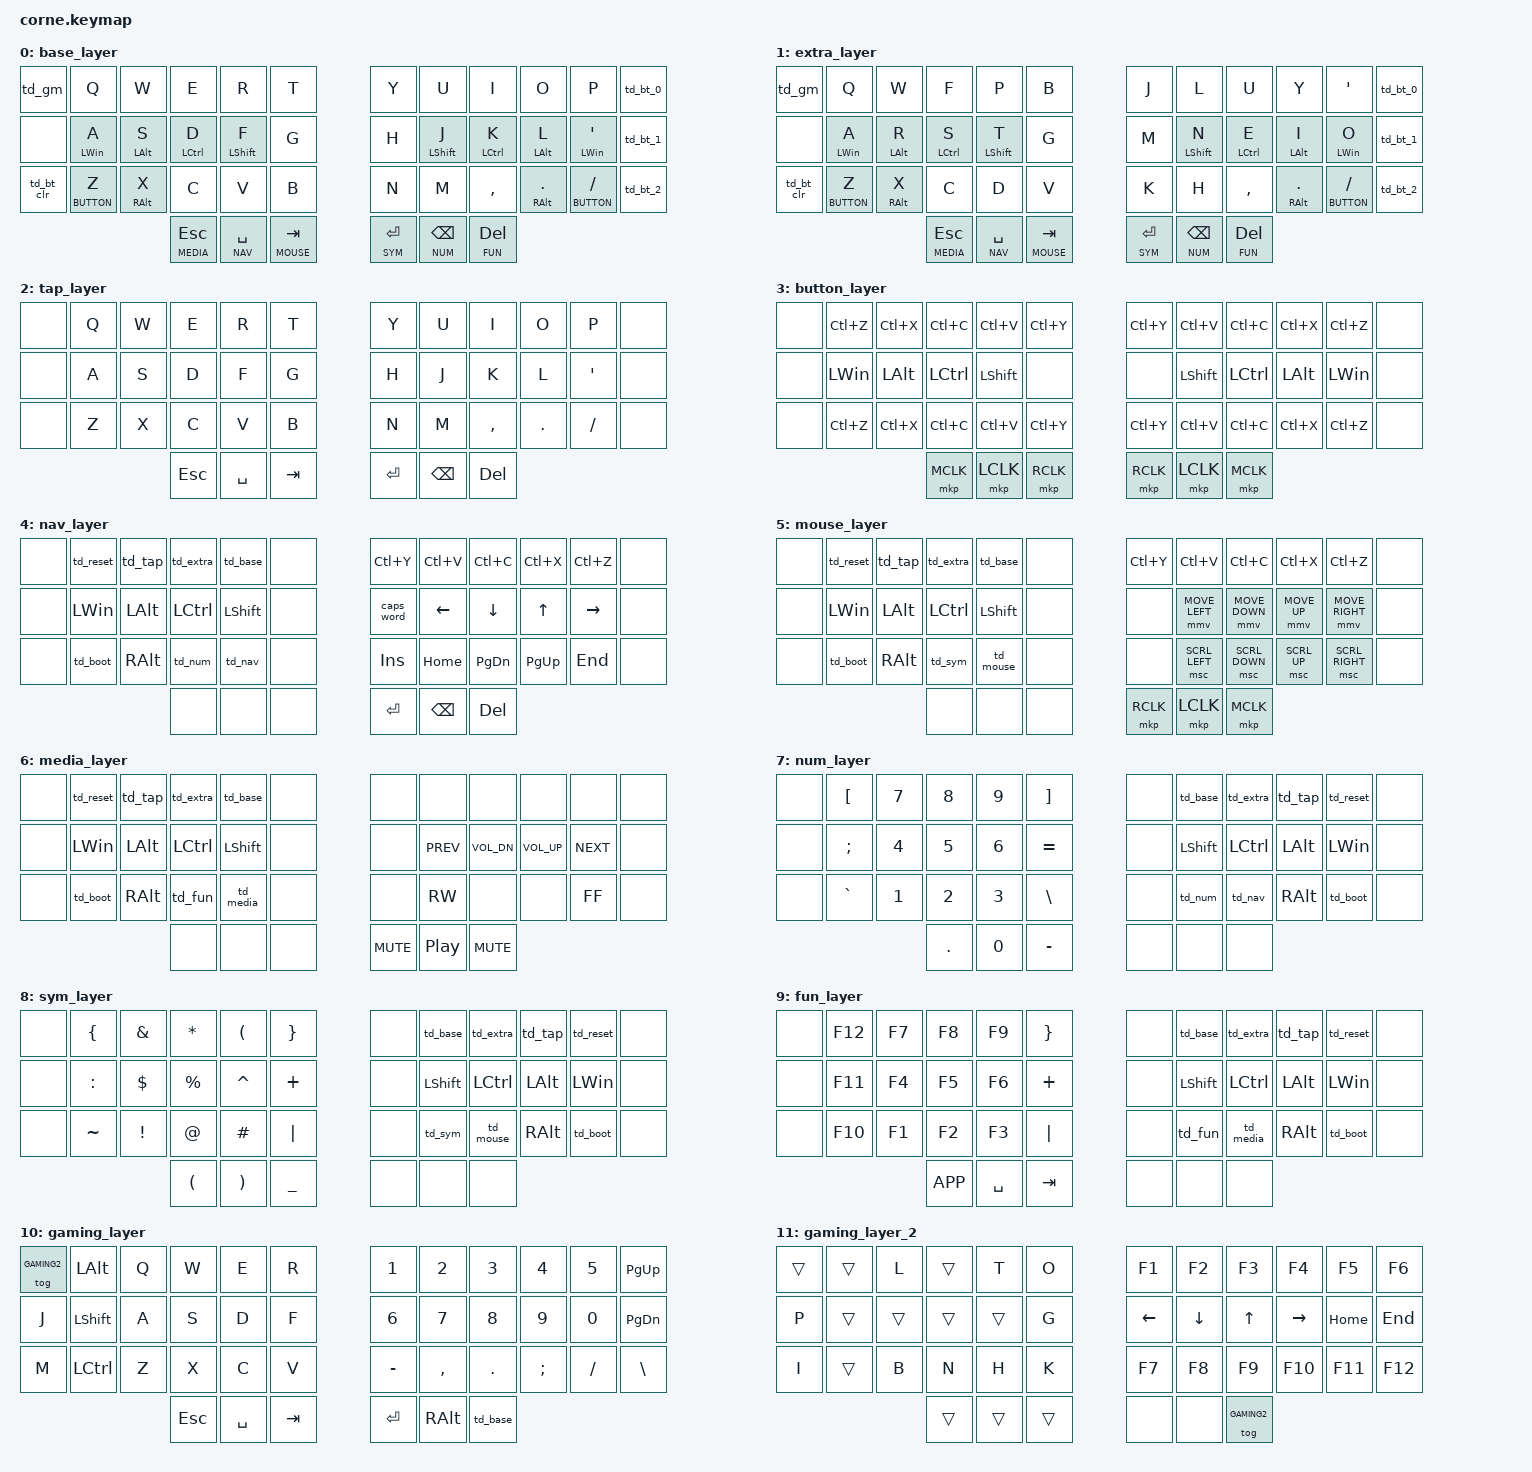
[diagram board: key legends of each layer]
/*
 * Copyright (c) 2020 The ZMK Contributors
 *
 * SPDX-License-Identifier: MIT
 */

#include <behaviors.dtsi>
#include <dt-bindings/zmk/keys.h>
#include <dt-bindings/zmk/bt.h>
#include <dt-bindings/zmk/pointing.h>

#define BASE 0
#define EXTRA 1
#define TAP 2
#define BUTTON 3
#define NAV 4
#define MOUSE 5
#define MEDIA 6
#define NUM 7
#define SYM 8
#define FUN 9
#define GAMING 10
#define GAMING2 11

&mt {
    flavor = "balanced";
};

&lt {
    flavor = "balanced";
};

/ {
    behaviors {
        td_gm: tap_dance_gaming {
            compatible = "zmk,behavior-tap-dance";
            #binding-cells = <0>;
            tapping-term-ms = <200>;
            bindings = <&none>, <&to GAMING>;
        };

        
        td_gm2: tap_dance_gaming2 {
            compatible = "zmk,behavior-tap-dance";
            #binding-cells = <0>;
            tapping-term-ms = <200>;
            bindings = <&none>, <&to GAMING2>;
        };

        
        td_reset: tap_dance_reset {
            compatible = "zmk,behavior-tap-dance";
            #binding-cells = <0>;
            tapping-term-ms = <200>;
            bindings = <&none>, <&sys_reset>;
        };

        
        td_boot: tap_dance_bootloader {
            compatible = "zmk,behavior-tap-dance";
            #binding-cells = <0>;
            tapping-term-ms = <200>;
            bindings = <&none>, <&none>, <&bootloader>;
        };

        
        td_tap: tap_dance_tap {
            compatible = "zmk,behavior-tap-dance";
            #binding-cells = <0>;
            tapping-term-ms = <200>;
            bindings = <&none>, <&to TAP>;
        };

        
        td_extra: tap_dance_extra {
            compatible = "zmk,behavior-tap-dance";
            #binding-cells = <0>;
            tapping-term-ms = <200>;
            bindings = <&none>, <&to EXTRA>;
        };

        
        td_base: tap_dance_base {
            compatible = "zmk,behavior-tap-dance";
            #binding-cells = <0>;
            tapping-term-ms = <200>;
            bindings = <&none>, <&to BASE>;
        };

        
        td_nav: tap_dance_nav {
            compatible = "zmk,behavior-tap-dance";
            #binding-cells = <0>;
            tapping-term-ms = <200>;
            bindings = <&none>, <&to NAV>;
        };

        
        td_num: tap_dance_num {
            compatible = "zmk,behavior-tap-dance";
            #binding-cells = <0>;
            tapping-term-ms = <200>;
            bindings = <&none>, <&to NUM>;
        };

        
        td_sym: tap_dance_sym {
            compatible = "zmk,behavior-tap-dance";
            #binding-cells = <0>;
            tapping-term-ms = <200>;
            bindings = <&none>, <&to SYM>;
        };

        
        td_mouse: tap_dance_mouse {
            compatible = "zmk,behavior-tap-dance";
            #binding-cells = <0>;
            tapping-term-ms = <200>;
            bindings = <&none>, <&to MOUSE>;
        };

        
        td_fun: tap_dance_fun {
            compatible = "zmk,behavior-tap-dance";
            #binding-cells = <0>;
            tapping-term-ms = <200>;
            bindings = <&none>, <&to FUN>;
        };

        
        td_media: tap_dance_media {
            compatible = "zmk,behavior-tap-dance";
            #binding-cells = <0>;
            tapping-term-ms = <200>;
            bindings = <&none>, <&to MEDIA>;
        };

        td_bt_0: tap_dance_select_bluetooth_0 {
            compatible = "zmk,behavior-tap-dance";
            #binding-cells = <0>;
            tapping-term-ms = <200>;
            bindings = <&none>, <&bt BT_SEL 0>;
        };

        td_bt_1: tap_dance_select_bluetooth_1 {
            compatible = "zmk,behavior-tap-dance";
            #binding-cells = <0>;
            tapping-term-ms = <200>;
            bindings = <&none>, <&bt BT_SEL 1>;
        };

        td_bt_2: tap_dance_select_bluetooth_2 {
            compatible = "zmk,behavior-tap-dance";
            #binding-cells = <0>;
            tapping-term-ms = <200>;
            bindings = <&none>, <&bt BT_SEL 2>;
        };

        td_bt_clr: tap_dance_clear_current_bluetooth {
            compatible = "zmk,behavior-tap-dance";
            #binding-cells = <0>;
            tapping-term-ms = <200>;
            bindings = <&none>, <&bt BT_CLR>;
        };
    };

        keymap {
                compatible = "zmk,keymap";

                base_layer {
// -----------------------------------------------------------------------------------------
// |  TAB |  Q  |  W  |  E  |  R  |  T  |   |  Y  |  U   |  I  |  O  |  P  | BSPC |
// | CTRL |  A  |  S  |  D  |  F  |  G  |   |  H  |  J   |  K  |  L  |  ;  |  '   |
// | SHFT |  Z  |  X  |  C  |  V  |  B  |   |  N  |  M   |  ,  |  .  |  /  | ESC  |
//                    | GUI | LWR | SPC |   | ENTER | RSE  | ALT |
                        bindings = <
   &td_gm   &kp Q &kp W &kp E &kp R &kp T   &kp Y &kp U  &kp I     &kp O   &kp P    &td_bt_0
   &none  &mt LWIN A &mt LALT S &mt LCTRL D &mt LSHFT F &kp  G   &kp H &mt LSHFT J  &mt LCTRL K     &mt LALT L   &mt LWIN SQT &td_bt_1
   &td_bt_clr &lt BUTTON Z &mt RALT X &kp C &kp V &kp B   &kp N &kp M  &kp COMMA &mt RALT DOT &lt BUTTON FSLH &td_bt_2
                  &lt MEDIA ESC &lt NAV SPC &lt MOUSE TAB   &lt SYM ENTER &lt NUM BSPC &lt FUN DEL
                        >;
                };
                extra_layer {
// -----------------------------------------------------------------------------------------
// |  TAB |  1  |  2  |  3  |  4  |  5  |   |  6  |  7  |  8  |  9  |  0  | BSPC |
// | BTCLR| BT1 | BT2 | BT3 | BT4 | BT5 |   | LFT | DWN |  UP | RGT |     |      |
// | SHFT |     |     |     |     |     |   |     |     |     |     |     |      |
//                    | GUI |     | SPC |   | ENTER |     | ALT |
                        bindings = <
   &td_gm   &kp Q &kp W &kp F &kp P &kp B   &kp J &kp L  &kp U     &kp Y   &kp SQT    &td_bt_0
   &none  &mt LWIN A &mt LALT R &mt LCTRL S &mt LSHFT T &kp  G   &kp M &mt LSHFT N  &mt LCTRL E     &mt LALT I   &mt LWIN O &td_bt_1
   &td_bt_clr &lt BUTTON Z &mt RALT X &kp C &kp D &kp V   &kp K &kp H  &kp COMMA &mt RALT DOT &lt BUTTON FSLH &td_bt_2
                  &lt MEDIA ESC &lt NAV SPC &lt MOUSE TAB   &lt SYM ENTER &lt NUM BSPC &lt FUN DEL
                        >;
                };

                tap_layer {
// -----------------------------------------------------------------------------------------
// |  TAB |  !  |  @  |  #  |  $  |  %  |   |  ^  |  &  |  *  |  (  |  )  | BSPC |
// | CTRL |     |     |     |     |     |   |  -  |  =  |  [  |  ]  |  \  |  `   |
// | SHFT |     |     |     |     |     |   |  _  |  +  |  {  |  }  | "|" |  ~   |
//                    | GUI |     | SPC |   | ENTER |     | ALT |
                        bindings = <
   &none   &kp Q &kp W &kp E &kp R &kp T   &kp Y &kp U  &kp I     &kp O   &kp P    &none
   &none &kp A &kp S &kp D &kp F &kp G   &kp H &kp J  &kp K     &kp L   &kp SQT &none
   &none &kp Z &kp X &kp C &kp V &kp B   &kp N &kp M  &kp COMMA &kp DOT &kp FSLH &none
                  &kp ESC &kp SPC &kp TAB   &kp ENTER &kp BSPC &kp DEL
                        >;
                };

                button_layer {
// -----------------------------------------------------------------------------------------
// |  TAB |  !  |  @  |  #  |  $  |  %  |   |  ^  |  &  |  *  |  (  |  )  | BSPC |
// | CTRL |     |     |     |     |     |   |  -  |  =  |  [  |  ]  |  \  |  `   |
// | SHFT |     |     |     |     |     |   |  _  |  +  |  {  |  }  | "|" |  ~   |
//                    | GUI |     | SPC |   | ENTER |     | ALT |
                        bindings = <
   &none   &kp LC(Z) &kp LC(X) &kp LC(C) &kp LC(V) &kp LC(Y)   &kp LC(Y) &kp LC(V)  &kp LC(C)     &kp LC(X)   &kp LC(Z)    &none
   &none &kp LWIN &kp LALT &kp LCTRL &kp LSHFT &none   &none &kp LSHFT  &kp LCTRL     &kp LALT   &kp LWIN &none
   &none   &kp LC(Z) &kp LC(X) &kp LC(C) &kp LC(V) &kp LC(Y)   &kp LC(Y) &kp LC(V)  &kp LC(C)     &kp LC(X)   &kp LC(Z)    &none
                  &mkp MCLK &mkp LCLK &mkp RCLK   &mkp RCLK &mkp LCLK &mkp MCLK
                        >;
                };

                nav_layer {
// -----------------------------------------------------------------------------------------
// |  TAB |  !  |  @  |  #  |  $  |  %  |   |  ^  |  &  |  *  |  (  |  )  | BSPC |
// | CTRL |     |     |     |     |     |   |  -  |  =  |  [  |  ]  |  \  |  `   |
// | SHFT |     |     |     |     |     |   |  _  |  +  |  {  |  }  | "|" |  ~   |
//                    | GUI |     | SPC |   | ENTER |     | ALT |
                        bindings = <
   &none   &td_reset  &td_tap  &td_extra  &td_base  &none    &kp LC(Y) &kp LC(V)  &kp LC(C)     &kp LC(X)   &kp LC(Z)  &none
   &none &kp LWIN &kp LALT &kp LCTRL &kp LSHFT &none   &caps_word  &kp LEFT  &kp DOWN     &kp UP   &kp RIGHT  &none
   &none   &td_boot &kp RALT &td_num &td_nav &none   &kp INS  &kp HOME  &kp PG_DN     &kp PG_UP   &kp END  &none
                  &none &none &none   &kp ENTER &kp BSPC &kp DEL
                        >;
                };

                mouse_layer {
// -----------------------------------------------------------------------------------------
// |  TAB |  !  |  @  |  #  |  $  |  %  |   |  ^  |  &  |  *  |  (  |  )  | BSPC |
// | CTRL |     |     |     |     |     |   |  -  |  =  |  [  |  ]  |  \  |  `   |
// | SHFT |     |     |     |     |     |   |  _  |  +  |  {  |  }  | "|" |  ~   |
//                    | GUI |     | SPC |   | ENTER |     | ALT |
                        bindings = <
   &none   &td_reset  &td_tap  &td_extra  &td_base  &none    &kp LC(Y) &kp LC(V)  &kp LC(C)     &kp LC(X)   &kp LC(Z)  &none
   &none &kp LWIN &kp LALT &kp LCTRL &kp LSHFT &none   &none  &mmv MOVE_LEFT  &mmv MOVE_DOWN     &mmv MOVE_UP   &mmv MOVE_RIGHT  &none
   &none   &td_boot &kp RALT &td_sym &td_mouse &none   &none  &msc SCRL_LEFT  &msc SCRL_DOWN     &msc SCRL_UP   &msc SCRL_RIGHT  &none
                  &none &none &none   &mkp RCLK &mkp LCLK &mkp MCLK
                        >;
                };

                media_layer {
// -----------------------------------------------------------------------------------------
// |  TAB |  !  |  @  |  #  |  $  |  %  |   |  ^  |  &  |  *  |  (  |  )  | BSPC |
// | CTRL |     |     |     |     |     |   |  -  |  =  |  [  |  ]  |  \  |  `   |
// | SHFT |     |     |     |     |     |   |  _  |  +  |  {  |  }  | "|" |  ~   |
//                    | GUI |     | SPC |   | ENTER |     | ALT |
                        bindings = <
   &none   &td_reset  &td_tap  &td_extra  &td_base  &none    &none &none &none &none &none  &none
   &none &kp LWIN &kp LALT &kp LCTRL &kp LSHFT &none   &none  &kp C_PREV  &kp C_VOL_DN     &kp C_VOL_UP   &kp C_NEXT  &none
   &none   &td_boot &kp RALT &td_fun &td_media &none   &none  &kp C_RW  &none     &none   &kp C_FF  &none
                  &none &none &none   &kp C_MUTE &kp C_PLAY_PAUSE &kp C_MUTE
                        >;
                };

                num_layer {
// -----------------------------------------------------------------------------------------
// |  TAB |  !  |  @  |  #  |  $  |  %  |   |  ^  |  &  |  *  |  (  |  )  | BSPC |
// | CTRL |     |     |     |     |     |   |  -  |  =  |  [  |  ]  |  \  |  `   |
// | SHFT |     |     |     |     |     |   |  _  |  +  |  {  |  }  | "|" |  ~   |
//                    | GUI |     | SPC |   | ENTER |     | ALT |
                        bindings = <
   &none   &kp LBKT  &kp N7  &kp N8  &kp N9  &kp RBKT     &none  &td_base &td_extra &td_tap &td_reset  &none
   &none &kp SEMI &kp N4 &kp N5 &kp N6 &kp EQUAL   &none  &kp LSHFT  &kp LCTRL     &kp LALT   &kp LWIN  &none
   &none   &kp GRAVE &kp N1 &kp N2 &kp N3 &kp BSLH   &none  &td_num  &td_nav     &kp RALT   &td_boot  &none
                  &kp DOT &kp N0 &kp MINUS   &none &none &none
                        >;
                };

                sym_layer {
// -----------------------------------------------------------------------------------------
// |  TAB |  !  |  @  |  #  |  $  |  %  |   |  ^  |  &  |  *  |  (  |  )  | BSPC |
// | CTRL |     |     |     |     |     |   |  -  |  =  |  [  |  ]  |  \  |  `   |
// | SHFT |     |     |     |     |     |   |  _  |  +  |  {  |  }  | "|" |  ~   |
//                    | GUI |     | SPC |   | ENTER |     | ALT |
                        bindings = <
   &none   &kp LBRC  &kp AMPS  &kp ASTRK  &kp LPAR  &kp RBRC     &none  &td_base &td_extra &td_tap &td_reset  &none
   &none &kp COLON &kp DOLLAR &kp PRCNT &kp CARET &kp PLUS   &none  &kp LSHFT  &kp LCTRL     &kp LALT   &kp LWIN  &none
   &none   &kp TILDE &kp EXCL &kp AT &kp HASH &kp PIPE   &none  &td_sym  &td_mouse     &kp RALT   &td_boot  &none
                &kp LPAR  &kp RPAR  &kp UNDER    &none &none &none
                        >;
                };

                fun_layer {
// -----------------------------------------------------------------------------------------
// |  TAB |  !  |  @  |  #  |  $  |  %  |   |  ^  |  &  |  *  |  (  |  )  | BSPC |
// | CTRL |     |     |     |     |     |   |  -  |  =  |  [  |  ]  |  \  |  `   |
// | SHFT |     |     |     |     |     |   |  _  |  +  |  {  |  }  | "|" |  ~   |
//                    | GUI |     | SPC |   | ENTER |     | ALT |
                        bindings = <
   &none   &kp F12  &kp F7  &kp F8  &kp F9  &kp RBRC     &none  &td_base &td_extra &td_tap &td_reset  &none
   &none &kp F11 &kp F4 &kp F5 &kp F6 &kp PLUS   &none  &kp LSHFT  &kp LCTRL     &kp LALT   &kp LWIN  &none
   &none   &kp F10 &kp F1 &kp F2 &kp F3 &kp PIPE   &none  &td_fun  &td_media     &kp RALT   &td_boot  &none
                &kp K_APP  &kp SPC  &kp TAB    &none &none &none
                        >;
                };

                gaming_layer {
// -----------------------------------------------------------------------------------------
// |  TAB |  !  |  @  |  #  |  $  |  %  |   |  ^  |  &  |  *  |  (  |  )  | BSPC |
// | CTRL |     |     |     |     |     |   |  -  |  =  |  [  |  ]  |  \  |  `   |
// | SHFT |     |     |     |     |     |   |  _  |  +  |  {  |  }  | "|" |  ~   |
//                    | GUI |     | SPC |   | ENTER |     | ALT |
                        bindings = <
   &tog GAMING2   &kp LALT  &kp Q &kp W &kp E &kp R     &kp N1  &kp N2  &kp N3  &kp N4  &kp N5  &kp PG_UP
   &kp J &kp LSHFT &kp A &kp S &kp D &kp F              &kp N6  &kp N7  &kp N8  &kp N9  &kp N0  &kp PG_DN
   &kp M &kp LCTRL &kp Z &kp X &kp C &kp V              &kp MINUS  &kp COMMA  &kp DOT  &kp SEMI  &kp FSLH  &kp BSLH
                &kp ESC  &kp SPC  &kp TAB    &kp ENTER &kp RALT &td_base
                        >;
                };

                gaming_layer_2 {
// -----------------------------------------------------------------------------------------
// |  TAB |  !  |  @  |  #  |  $  |  %  |   |  ^  |  &  |  *  |  (  |  )  | BSPC |
// | CTRL |     |     |     |     |     |   |  -  |  =  |  [  |  ]  |  \  |  `   |
// | SHFT |     |     |     |     |     |   |  _  |  +  |  {  |  }  | "|" |  ~   |
//                    | GUI |     | SPC |   | ENTER |     | ALT |
                        bindings = <
   &trans  &trans  &kp L  &trans  &kp T  &kp O     &kp F1  &kp F2  &kp F3  &kp F4  &kp F5  &kp F6
   &kp P   &trans &trans &trans &trans &kp G       &kp LEFT  &kp DOWN     &kp UP   &kp RIGHT   &kp HOME  &kp END
   &kp I   &trans &kp B &kp N &kp H &kp K          &kp F7  &kp F8  &kp F9  &kp F10  &kp F11  &kp F12
                &trans   &trans   &trans    &none &none &tog GAMING2
                        >;
                };
        };
};
